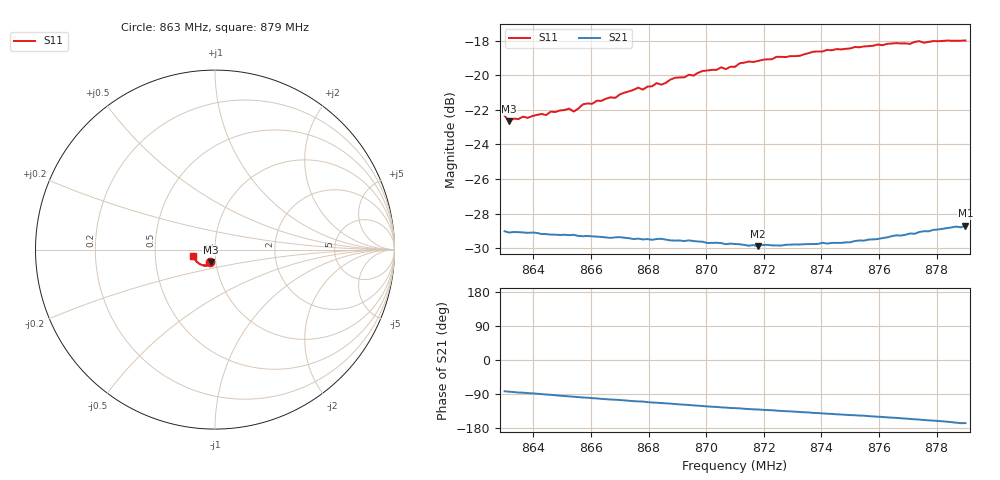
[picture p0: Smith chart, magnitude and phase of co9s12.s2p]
# HZ S RI R 50
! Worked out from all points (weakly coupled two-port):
!   101 points, 863 MHz to 879 MHz, reference 50 ohm
!   highest |S21| = -28.70 dB at 879 MHz (marker M1); lowest = -29.9 dB at 871.8 MHz (marker M2)
!   lowest |S11| = -22.7 dB at 863.16 MHz (marker M3), VSWR 1.16, Z = 47.1 - j6.58 ohm
!   |S11| at or under -10 dB: start of sweep to end of sweep
!   S12 and S22 are empty: the file has one direction only
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8.63e8  -0.0288 -0.0707  0.00465 -0.0351  0 0  0 0
8.6316e8  -0.0247 -0.0694  0.00384 -0.0349  0 0  0 0
8.6524e8  -0.0261 -0.0758  -0.00363 -0.0343  0 0  0 0
8.654e8  -0.027 -0.0738  -0.00421 -0.0343  0 0  0 0
8.6572e8  -0.0272 -0.0778  -0.00534 -0.0338  0 0  0 0
8.6684e8  -0.033 -0.0795  -0.0087 -0.0329  0 0  0 0
8.6764e8  -0.0357 -0.085  -0.0111 -0.0318  0 0  0 0
8.678e8  -0.0358 -0.0836  -0.0113 -0.0316  0 0  0 0
8.6828e8  -0.0382 -0.087  -0.013 -0.031  0 0  0 0
8.6844e8  -0.0384 -0.0857  -0.0134 -0.0309  0 0  0 0
8.6892e8  -0.0429 -0.0886  -0.0147 -0.0298  0 0  0 0
8.6956e8  -0.0473 -0.0879  -0.0165 -0.0288  0 0  0 0
8.6988e8  -0.0499 -0.0901  -0.0173 -0.0281  0 0  0 0
8.71e8  -0.0586 -0.0882  -0.0196 -0.026  0 0  0 0
8.7116e8  -0.0615 -0.0891  -0.0198 -0.0257  0 0  0 0
8.718e8  -0.0667 -0.0876  -0.0209 -0.0243  0 0  0 0
8.7244e8  -0.0733 -0.0862  -0.0222 -0.0233  0 0  0 0
8.7324e8  -0.0784 -0.0826  -0.0238 -0.022  0 0  0 0
8.7372e8  -0.0839 -0.0817  -0.0248 -0.021  0 0  0 0
8.75e8  -0.0949 -0.0729  -0.0271 -0.0187  0 0  0 0
8.7644e8  -0.1074 -0.0612  -0.0303 -0.016  0 0  0 0
8.79e8  -0.1214 -0.0345  -0.0357 -0.00858  0 0  0 0
